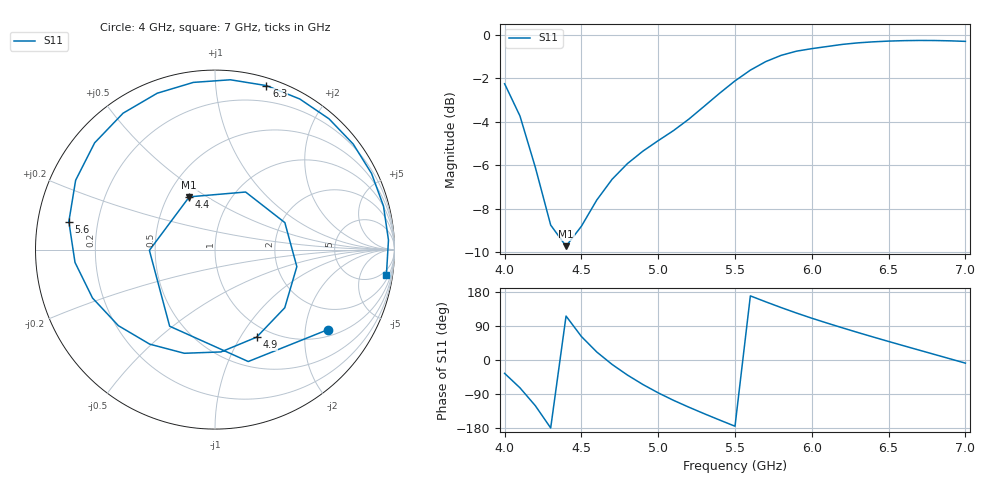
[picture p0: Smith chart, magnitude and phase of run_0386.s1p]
! Touchstone file exported from HFSS 2024.2.0
!  File:  C:/Users/wsak9/Desktop/Sim Fast/Widenad Patch/WP_AI_V1_sweep.aedt
!  Generated:  07:32:04 AM Oct 14, 2026
!  Design:  A1_model
!  Project:  WP_AI_V1_sweep
!  Setup:  Setup1
!  Solution:  Sweep
! Variables:
!  Air_gap = 3.97mm
!  Curve_Amp1 = 1.2
!  Curve_len1 = 1
!  Curve_pos = 12.925mm
!  Extra = 4.96mm
!  H_sub = 0.79mm
!  L_Patch = 21.85mm
!  L_Patch1 = 17.2mm
!  Sx = 2.45mm
!  Sy = 4.51mm
!  WS = 0.91mm
!  W_Patch = 17.92mm
!  W_Patch1 = 12.24mm
!Data is not renormalized
# GHz S MA
! Terminal data exported
! Port[1] = 1
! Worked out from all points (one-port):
!   31 points, 4 GHz to 7 GHz, reference per port
!   lowest |S11| = -9.7 dB at 4.4 GHz (marker M1), VSWR 1.97
!   |S11| at or under -10 dB: nowhere
!   S11 on the Smith chart (normalised r, x): 4 GHz: 1.21, -2.66; 4.4 GHz: 0.64, +0.42; 4.9 GHz: 0.86, -1.18; 5.6 GHz: 0.09, +0.09; 6.3 GHz: 0.06, +1.36; 7 GHz: 3, -13
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4  0.7715 -35.3
4.1  0.6505 -73.4
4.2  0.4961 -120.6
4.3  0.3655 -179.3
4.4  0.327 116.0
4.5  0.3633 62.0
4.6  0.4172 21.1
4.7  0.4657 -11.8
4.8  0.506 -39.8
4.9  0.5402 -64.6
5  0.5711 -86.7
5.1  0.6024 -106.5
5.2  0.6401 -124.6
5.3  0.6852 -141.8
5.4  0.7339 -158.5
5.5  0.7833 -174.8
5.6  0.829 169.2
5.7  0.8673 153.5
5.8  0.8964 138.4
5.9  0.9165 124.0
6  0.9288 110.3
6.1  0.9393 97.4
6.2  0.95 84.8
6.3  0.9576 72.6
6.5  0.9666 48.9
6.7  0.9699 25.9
6.9  0.9679 3.1
7  0.9652 -8.3
